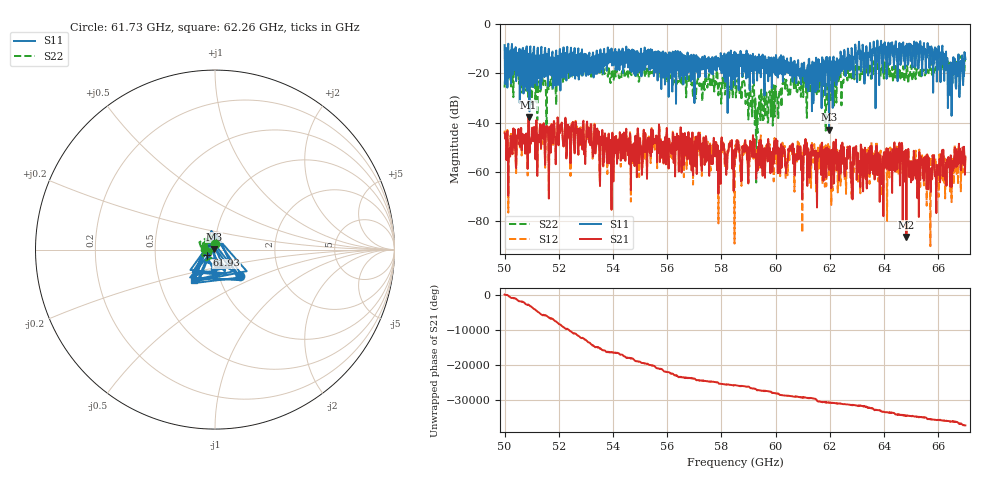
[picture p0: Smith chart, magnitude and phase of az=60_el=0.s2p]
!Created with skrf (http://scikit-rf.org).
# GHz S RI R 50.0
!freq ReS11 ImS11 ReS21 ImS21 ReS12 ImS12 ReS22 ImS22
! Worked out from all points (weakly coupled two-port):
!   1001 points, 50 GHz to 67 GHz, reference 50 ohm
!   highest |S21| = -37.74 dB at 50.88 GHz (marker M1); lowest = -86.4 dB at 64.82 GHz (marker M2)
!   lowest |S11| = -42.8 dB at 61.97 GHz (marker M3), VSWR 1.01, Z = 49.4 + j0.373 ohm
!   |S11| at or under -10 dB: 52.72 GHz to 53.81 GHz (1.085 GHz wide, 2.04 % of centre); 55.17 GHz to 62.66 GHz (7.496 GHz wide, 12.7 % of centre); 66.16 GHz to end of sweep (the widest 3 of 61)
!   |S22| runs from -64.3 to -12.8 dB; largest |S21 - S12| = 0.0021
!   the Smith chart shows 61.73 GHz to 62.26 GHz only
!   S11 on the Smith chart (normalised r, x): 61.73 GHz: 1.25, -0.39; 61.93 GHz: 0.91, -0.06; 62.26 GHz: 0.75, -0.27
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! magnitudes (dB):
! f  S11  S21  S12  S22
! 50 GHz  -8.5  -44.3  -43.2  -25.7
! 50.2 GHz  -13.6  -53.8  -53.4  -21.0
! 50.88 GHz  -15.1  -37.7  -37.7  -32.7
! 52.84 GHz  -12.4  -45.3  -45.8  -20.8
! 53.94 GHz  -9.9  -75.4  -67.5  -21.1
! 55.68 GHz  -13.7  -52.2  -50.5  -21.6
! 58.5 GHz  -24.7  -50.7  -50.4  -22.9
! 59.11 GHz  -12.8  -48.0  -48.1  -31.7
! 59.3 GHz  -14.8  -54.9  -50.3  -35.4
! 60.34 GHz  -14.8  -51.0  -49.4  -24.0
! 61.34 GHz  -35.3  -51.5  -48.2  -24.3
! 61.73 GHz  -13.8  -61.2  -65.0  -30.5
! 61.93 GHz  -25.1  -52.4  -48.7  -32.6
! 61.97 GHz  -42.8  -59.2  -61.3  -21.9
! 62.26 GHz  -13.8  -59.3  -58.3  -24.0
! 63.46 GHz  -13.3  -60.9  -64.9  -18.1
! 63.89 GHz  -6.8  -65.1  -69.8  -17.6
! 64.18 GHz  -12.2  -56.2  -58.9  -17.6
! 64.82 GHz  -10.3  -86.4  -62.5  -19.2
! 66.1 GHz  -12.9  -52.8  -54.3  -17.7
! 66.44 GHz  -28.9  -65.9  -68.0  -15.7
! 67 GHz  -14.2  -53.8  -53.8  -14.2
